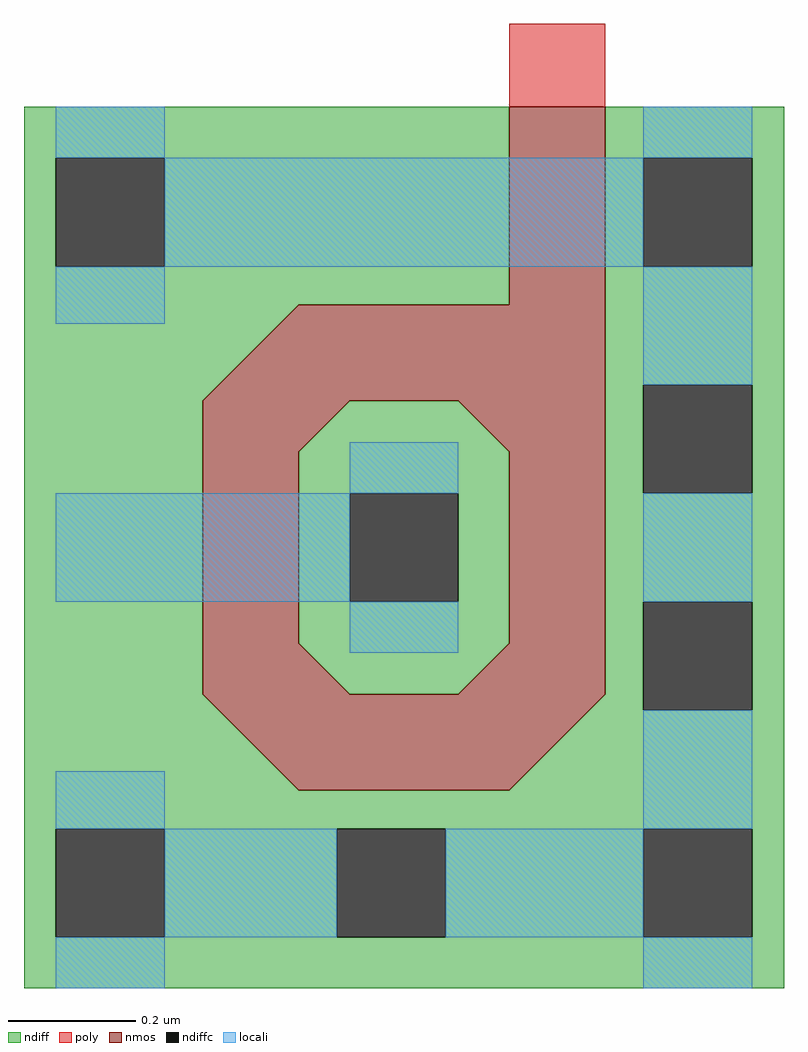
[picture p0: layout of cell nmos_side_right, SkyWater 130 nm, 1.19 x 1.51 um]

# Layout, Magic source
magic
tech sky130A
magscale 1 2
<< nmos >>
rect 125 181 155 243
tri 29 151 59 181 se
rect 59 151 155 181
rect 29 59 59 151
tri 59 135 75 151 nw
tri 109 135 125 151 ne
tri 59 59 75 75 sw
tri 109 59 125 75 se
rect 125 59 155 151
tri 29 29 59 59 ne
rect 59 29 125 59
tri 125 29 155 59 nw
<< ndiff >>
rect -27 227 125 243
rect -27 193 -17 227
rect 17 193 125 227
rect -27 181 125 193
rect 155 227 211 243
rect 155 193 167 227
rect 201 193 211 227
rect -27 29 29 181
tri 29 151 59 181 nw
rect 155 156 211 193
tri 59 135 75 151 se
rect 75 135 109 151
tri 109 135 125 151 sw
rect 59 122 125 135
rect 59 88 75 122
rect 109 88 125 122
rect 59 75 125 88
tri 59 59 75 75 ne
rect 75 59 109 75
tri 109 59 125 75 nw
rect 155 122 167 156
rect 201 122 211 156
rect 155 88 211 122
tri 29 29 59 59 sw
tri 125 29 155 59 se
rect 155 54 167 88
rect 201 54 211 88
rect 155 29 211 54
rect -27 17 211 29
rect -27 -17 -17 17
rect 17 -17 71 17
rect 105 -17 167 17
rect 201 -17 211 17
rect -27 -33 211 -17
<< ndiffc >>
rect -17 193 17 227
rect 167 193 201 227
rect 75 88 109 122
rect 167 122 201 156
rect 167 54 201 88
rect -17 -17 17 17
rect 71 -17 105 17
rect 167 -17 201 17
<< poly >>
rect 125 243 155 269
<< locali >>
rect -17 227 17 243
rect 167 227 201 243
rect 17 193 167 227
rect -17 175 17 193
rect 167 156 201 193
rect 75 122 109 138
rect -17 88 75 122
rect 75 72 109 88
rect 167 88 201 122
rect -17 17 17 35
rect 167 17 201 54
rect 17 -17 71 17
rect 105 -17 167 17
rect -17 -33 17 -17
rect 167 -33 201 -17
<< end >>
